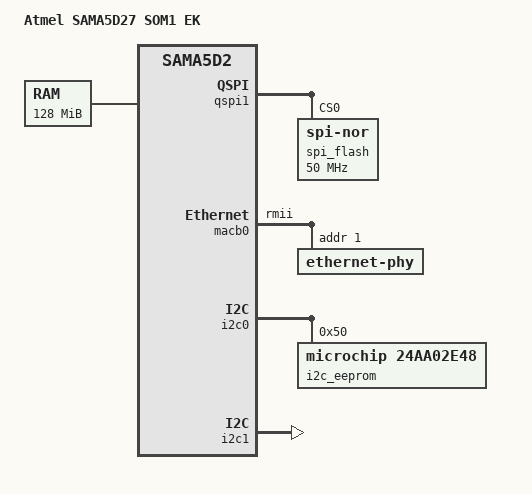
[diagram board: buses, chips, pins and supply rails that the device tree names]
/*
 * sama5d27_som1.dtsi - Device Tree file for SAMA5D27 SOM1
 *
 *  Copyright (C) 2017 Microchip Corporation
 *                     Wenyou Yang <wenyou.yang@microchip.com>
 *
 * This file is dual-licensed: you can use it either under the terms
 * of the GPL or the X11 license, at your option. Note that this dual
 * licensing only applies to this file, and not this project as a
 * whole.
 *
 *  a) This file is free software; you can redistribute it and/or
 *     modify it under the terms of the GNU General Public License as
 *     published by the Free Software Foundation; either version 2 of the
 *     License, or (at your option) any later version.
 *
 *     This file is distributed in the hope that it will be useful,
 *     but WITHOUT ANY WARRANTY; without even the implied warranty of
 *     MERCHANTABILITY or FITNESS FOR A PARTICULAR PURPOSE.  See the
 *     GNU General Public License for more details.
 *
 * Or, alternatively,
 *
 *  b) Permission is hereby granted, free of charge, to any person
 *     obtaining a copy of this software and associated documentation
 *     files (the "Software"), to deal in the Software without
 *     restriction, including without limitation the rights to use,
 *     copy, modify, merge, publish, distribute, sublicense, and/or
 *     sell copies of the Software, and to permit persons to whom the
 *     Software is furnished to do so, subject to the following
 *     conditions:
 *
 *     The above copyright notice and this permission notice shall be
 *     included in all copies or substantial portions of the Software.
 *
 *     THE SOFTWARE IS PROVIDED "AS IS", WITHOUT WARRANTY OF ANY KIND,
 *     EXPRESS OR IMPLIED, INCLUDING BUT NOT LIMITED TO THE WARRANTIES
 *     OF MERCHANTABILITY, FITNESS FOR A PARTICULAR PURPOSE AND
 *     NONINFRINGEMENT. IN NO EVENT SHALL THE AUTHORS OR COPYRIGHT
 *     HOLDERS BE LIABLE FOR ANY CLAIM, DAMAGES OR OTHER LIABILITY,
 *     WHETHER IN AN ACTION OF CONTRACT, TORT OR OTHERWISE, ARISING
 *     FROM, OUT OF OR IN CONNECTION WITH THE SOFTWARE OR THE USE OR
 *     OTHER DEALINGS IN THE SOFTWARE.
 */

#include "sama5d2.dtsi"
#include "sama5d2-pinfunc.h"
/ {
	model = "Atmel SAMA5D27 SOM1 EK";
	compatible = "atmel,sama5d27-som1-ek", "atmel,sama5d2", "atmel,sama5";

	memory {
		reg = <0x20000000 0x8000000>;
	};

	aliases {
		spi0 = &qspi1;
	};

	ahb {
		apb {
			qspi1: spi@f0024000 {
				pinctrl-names = "default";
				pinctrl-0 = <&pinctrl_qspi1_sck_cs_default &pinctrl_qspi1_dat_default>;
				status = "okay";
				u-boot,dm-pre-reloc;

				spi_flash@0 {
					compatible = "jedec,spi-nor";
					reg = <0>;
					spi-max-frequency = <50000000>;
					spi-rx-bus-width = <4>;
					spi-tx-bus-width = <4>;
					u-boot,dm-pre-reloc;
				};
			};

			macb0: ethernet@f8008000 {
				pinctrl-names = "default";
				pinctrl-0 = <&pinctrl_macb0_rmii &pinctrl_macb0_phy_irq>;
				phy-mode = "rmii";
				status = "okay";

				ethernet-phy@1 {
					reg = <0x1>;
				};
			};

			i2c0: i2c@f8028000 {
				pinctrl-names = "default";
				pinctrl-0 = <&pinctrl_i2c0_default>;
				status = "okay";

				i2c_eeprom: i2c_eeprom@50 {
					compatible = "microchip,24aa02e48";
					reg = <0x50>;
				};
			};

			i2c1: i2c@fc028000 {
				pinctrl-names = "default";
				pinctrl-0 = <&pinctrl_i2c1_default>;
				status = "okay";
			};

			pioA: gpio@fc038000 {
				pinctrl {
					pinctrl_i2c0_default: i2c0_default {
						pinmux = <PIN_PD21__TWD0>,
							 <PIN_PD22__TWCK0>;
						bias-disable;
					};

					pinctrl_i2c1_default: i2c1_default {
						pinmux = <PIN_PD4__TWD1>,
							 <PIN_PD5__TWCK1>;
						bias-disable;
					};

					pinctrl_macb0_phy_irq: macb0_phy_irq {
						pinmux = <PIN_PD31__GPIO>;
						bias-disable;
					};

					pinctrl_macb0_rmii: macb0_rmii {
						pinmux = <PIN_PD9__GTXCK>,
							 <PIN_PD10__GTXEN>,
							 <PIN_PD11__GRXDV>,
							 <PIN_PD12__GRXER>,
							 <PIN_PD13__GRX0>,
							 <PIN_PD14__GRX1>,
							 <PIN_PD15__GTX0>,
							 <PIN_PD16__GTX1>,
							 <PIN_PD17__GMDC>,
							 <PIN_PD18__GMDIO>;
						bias-disable;
					};

					pinctrl_qspi1_sck_cs_default: qspi1_sck_cs_default {
						pinmux = <PIN_PB5__QSPI1_SCK>,
							 <PIN_PB6__QSPI1_CS>;
						bias-disable;
						u-boot,dm-pre-reloc;
					};

					pinctrl_qspi1_dat_default: qspi1_dat_default {
						pinmux = <PIN_PB7__QSPI1_IO0>,
							 <PIN_PB8__QSPI1_IO1>,
							 <PIN_PB9__QSPI1_IO2>,
							 <PIN_PB10__QSPI1_IO3>;
						bias-pull-up;
						u-boot,dm-pre-reloc;
					};
				};
			};
		};
	};
};
